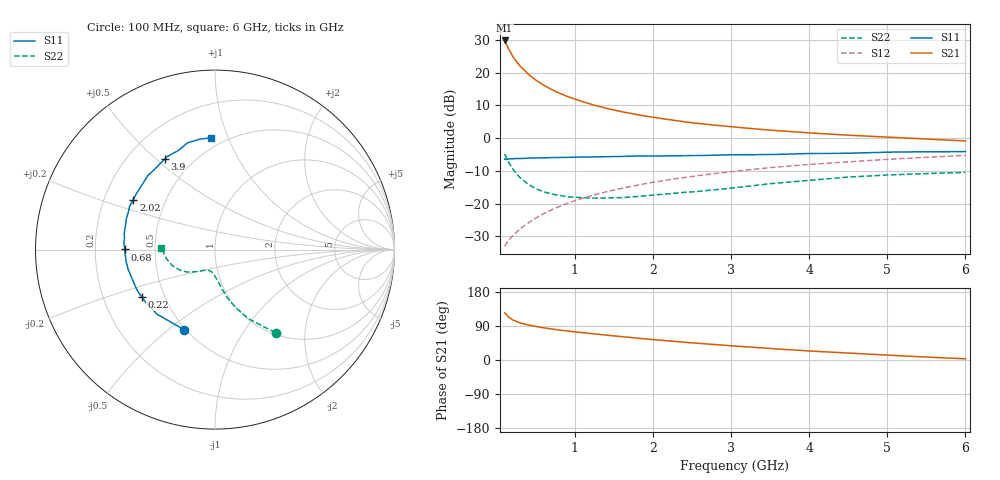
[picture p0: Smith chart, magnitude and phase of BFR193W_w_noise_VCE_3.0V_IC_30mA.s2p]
! Infineon Technologies  Discrete & RF Semiconductors
! BFR193W
! VCE =  3.0 V,  IC =  30 mA
! Common Emitter S-Parameters:  Nov 2015
# GHz  S  MA  R  50
!  f  S11  S21  S12  S22
! GHz  MAG  ANG  MAG  ANG  MAG  ANG  MAG  ANG
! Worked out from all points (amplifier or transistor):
!   192 points, 100 MHz to 6 GHz, reference 50 ohm
!   highest |S21| = 29.9 dB at 100 MHz (marker M1)
!   |S21| within 3 dB of that: start of sweep to 160.5 MHz
!   unconditionally stable (mu >= 1): 636.1 MHz to 2.486 GHz
!   at 440 MHz: K = 0.94, MSG = 22.1 dB, |S12| = -25.3 dB
!   at 1.7 GHz: K = 1.03, MAG = 10.3 dB, |S12| = -14.8 dB
!   at 6 GHz: K = 0.92, MSG = 2.2 dB, |S12| = -5.3 dB
!   lowest NFmin = 1.90 dB at 450 MHz
!   S11 on the Smith chart (normalised r, x): 100 MHz: 0.49, -0.57; 220 MHz: 0.37, -0.26; 680 MHz: 0.33, +0.00; 2.02 GHz: 0.33, +0.25; 3.9 GHz: 0.35, +0.54; 6 GHz: 0.43, +0.87
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0.1  0.4783 -111.0  31.09 124.3  0.0224 58.8  0.5723 -53.9
0.15  0.4837 -132.0  23.07 113.2  0.0275 57.7  0.43 -64.0
0.2  0.4855 -144.0  18.13 106.1  0.0318 59.0  0.3446 -70.3
0.22  0.4861 -147.3  16.8 104.4  0.0337 59.9  0.3207 -72.0
0.24  0.4883 -150.6  15.49 102.5  0.0356 60.6  0.2971 -73.9
0.26  0.4893 -153.4  14.38 100.8  0.0374 61.4  0.278 -75.5
0.3  0.4887 -158.3  12.55 97.7  0.0411 62.8  0.2483 -77.7
0.4  0.4963 -166.9  9.54 92.4  0.0503 65.9  0.1976 -82.3
0.5  0.5 -172.7  7.7 88.4  0.0602 67.7  0.1688 -85.8
0.6  0.5011 -177.1  6.453 85.0  0.0705 68.8  0.1514 -89.6
0.68  0.5029 179.9  5.717 82.6  0.0783 69.5  0.1424 -91.6
0.8  0.5094 175.7  4.873 79.1  0.0905 70.0  0.1337 -95.1
0.9  0.5081 173.0  4.341 76.6  0.1008 70.0  0.1273 -97.2
1.1  0.5146 167.6  3.621 72.2  0.1211 69.8  0.123 -102.2
1.5  0.524 159.3  2.686 63.6  0.1612 68.2  0.1237 -111.7
2.02  0.5334 148.5  2.065 53.5  0.2136 64.9  0.1357 -120.4
2.08  0.5344 147.4  2.016 52.5  0.2195 64.5  0.1374 -121.1
3.1  0.557 130.8  1.456 36.1  0.3169 56.4  0.1778 -135.5
3.9  0.5781 118.7  1.228 25.1  0.3886 49.5  0.2219 -148.5
4.1  0.5834 115.8  1.185 22.7  0.4047 47.8  0.2323 -152.1
5.1  0.6149 103.1  1.024 11.7  0.4818 39.2  0.2763 -170.5
6  0.6232 91.9  0.907 3.2  0.5457 31.5  0.3001 178.5
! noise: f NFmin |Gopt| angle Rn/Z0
0.45  1.9  0.4  180  0.09
0.9  1.95  0.43  -173  0.11
1.8  2.4  0.58  -144  0.24
